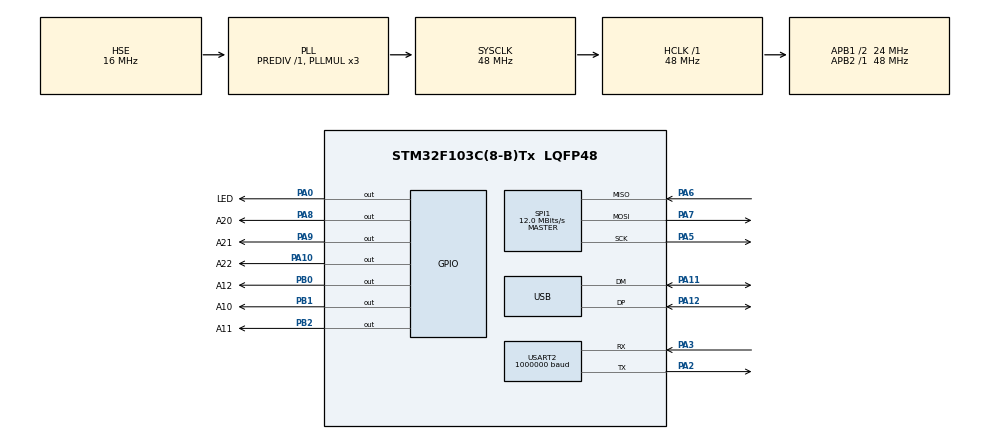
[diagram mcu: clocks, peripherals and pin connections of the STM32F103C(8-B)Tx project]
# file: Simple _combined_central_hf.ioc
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Mcu.Family=STM32F1
Mcu.Name=STM32F103C(8-B)Tx
Mcu.Package=LQFP48
NVIC.PriorityGroup=NVIC_PRIORITYGROUP_4
NVIC.SPI1_IRQn=true\:0\:0\:false\:false\:true\:true\:true
NVIC.TIM2_IRQn=true\:0\:0\:false\:false\:true\:true\:true
PA0-WKUP.GPIO_Label=LED
PA0-WKUP.GPIO_Speed=GPIO_SPEED_FREQ_HIGH
PA0-WKUP.Signal=GPIO_Output
PA10.GPIO_Label=A22
PA10.GPIO_PuPd=GPIO_PULLDOWN
PA10.GPIO_Speed=GPIO_SPEED_FREQ_HIGH
PA10.Signal=GPIO_Output
PA11.Mode=Device
PA11.Signal=USB_DM
PA12.Mode=Device
PA12.Signal=USB_DP
PA13.Mode=Serial_Wire
PA13.Signal=SYS_JTMS-SWDIO
PA14.Mode=Serial_Wire
PA14.Signal=SYS_JTCK-SWCLK
PA2.Mode=Asynchronous
PA2.Signal=USART2_TX
PA3.Mode=Asynchronous
PA3.Signal=USART2_RX
PA5.Mode=Full_Duplex_Master
PA5.Signal=SPI1_SCK
PA6.Mode=Full_Duplex_Master
PA6.Signal=SPI1_MISO
PA7.Mode=Full_Duplex_Master
PA7.Signal=SPI1_MOSI
PA8.GPIO_Label=A20
PA8.GPIO_PuPd=GPIO_PULLDOWN
PA8.GPIO_Speed=GPIO_SPEED_FREQ_HIGH
PA8.Signal=GPIO_Output
PA9.GPIO_Label=A21
PA9.GPIO_PuPd=GPIO_PULLDOWN
PA9.GPIO_Speed=GPIO_SPEED_FREQ_HIGH
PA9.Signal=GPIO_Output
PB0.GPIO_Label=A12
PB0.GPIO_PuPd=GPIO_PULLDOWN
PB0.GPIO_Speed=GPIO_SPEED_FREQ_HIGH
PB0.Signal=GPIO_Output
PB1.GPIO_Label=A10
PB1.GPIO_PuPd=GPIO_PULLDOWN
PB1.GPIO_Speed=GPIO_SPEED_FREQ_HIGH
PB1.Signal=GPIO_Output
PB2.GPIO_Label=A11
PB2.GPIO_PuPd=GPIO_PULLDOWN
PB2.GPIO_Speed=GPIO_SPEED_FREQ_HIGH
PB2.Signal=GPIO_Output
PC14-OSC32_IN.Mode=LSE-External-Oscillator
PC14-OSC32_IN.Signal=RCC_OSC32_IN
PC15-OSC32_OUT.Mode=LSE-External-Oscillator
PC15-OSC32_OUT.Signal=RCC_OSC32_OUT
PD0-OSC_IN.Mode=HSE-External-Oscillator
PD0-OSC_IN.Signal=RCC_OSC_IN
PD1-OSC_OUT.Mode=HSE-External-Oscillator
PD1-OSC_OUT.Signal=RCC_OSC_OUT
ProjectManager.HeapSize=0x200
ProjectManager.StackSize=0x400
ProjectManager.TargetToolchain=STM32CubeIDE
RCC.AHBFreq_Value=48000000
RCC.APB1CLKDivider=RCC_HCLK_DIV2
RCC.APB1Freq_Value=24000000
RCC.APB1TimFreq_Value=48000000
RCC.APB2Freq_Value=48000000
RCC.APB2TimFreq_Value=48000000
RCC.HCLKFreq_Value=48000000
RCC.HSE_VALUE=16000000
RCC.PLLMUL=RCC_PLL_MUL3
RCC.SYSCLKFreq_VALUE=48000000
RCC.SYSCLKSource=RCC_SYSCLKSOURCE_PLLCLK
RCC.USBFreq_Value=48000000
SPI1.BaudRatePrescaler=SPI_BAUDRATEPRESCALER_4
SPI1.CLKPhase=SPI_PHASE_2EDGE
SPI1.CalculateBaudRate=12.0 MBits/s
SPI1.Direction=SPI_DIRECTION_2LINES
SPI1.FirstBit=SPI_FIRSTBIT_LSB
SPI1.Mode=SPI_MODE_MASTER
SPI1.VirtualType=VM_MASTER
TIM2.AutoReloadPreload=TIM_AUTORELOAD_PRELOAD_ENABLE
TIM2.Period=16000
TIM2.Prescaler=1000
USART2.BaudRate=1000000
USART2.VirtualMode=VM_ASYNC
VP_RTC_VS_RTC_Activate.Mode=RTC_Enabled
VP_TIM2_VS_ClockSourceINT.Mode=Internal
board=custom

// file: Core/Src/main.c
/* USER CODE BEGIN Header */
/**
  ******************************************************************************
  * @file           : main.c
  * @brief          : Master for spi printing in high frequency
  ******************************************************************************
  * @attention
  *
  * <h2><center>&copy; Copyright (c) 2022 STMicroelectronics.
  * All rights reserved.</center></h2>
  *
  * This software component is licensed by ST under BSD 3-Clause license,
  * the "License"; You may not use this file except in compliance with the
  * License. You may obtain a copy of the License at:
  *                        opensource.org/licenses/BSD-3-Clause
  *
  ******************************************************************************
  */
/* USER CODE END Header */
#include "main.h"

/* USER CODE BEGIN Includes */
#include <stdio.h>
#include <string.h>
/* USER CODE END Includes */

/* USER CODE BEGIN PD */
#define BUFFERSIZE 16
#define OPTODE1 1
#define OPTODE2 2
#define OPTODE3 3
#define OPTODE4 4
#define OPTODE5 5
#define OPTODE6 6
#define OPTODE_ 0

/* USER CODE END PD */

RTC_HandleTypeDef hrtc;

SPI_HandleTypeDef hspi1;

TIM_HandleTypeDef htim2;

UART_HandleTypeDef huart2;

PCD_HandleTypeDef hpcd_USB_FS;

/* USER CODE BEGIN PV */
uint8_t aTxBuffer[BUFFERSIZE];// = {1,2,3,4,5,6,7,8,9,10,11,12,13,14,15,16,17,18,19,20,21,22,23,24,25,26,27,28,29,30,31,32,33,34,35,36,37,38,39,40,41,42,43,44,45,46,47,48,49,50,51,52,53,54,55,56,57,58,59,60,61,62,63,64};
uint8_t aRxBuffer[BUFFERSIZE];
uint8_t sRxBuffer[BUFFERSIZE];
//int reading=125;
uint16_t reading=125;
int optode=0;
int prev_optode=0;
char msg[32];
/* USER CODE END PV */

void SystemClock_Config(void);
static void MX_GPIO_Init(void);
static void MX_SPI1_Init(void);
static void MX_USART2_UART_Init(void);
static void MX_USB_PCD_Init(void);
static void MX_TIM2_Init(void);
static void MX_RTC_Init(void);
/* USER CODE BEGIN PFP */
int get_optode(void);
/* USER CODE END PFP */

int main(void)
{

  /* MCU Configuration--------------------------------------------------------*/

  /* Reset of all peripherals, Initializes the Flash interface and the Systick. */
  HAL_Init();

  /* Configure the system clock */
  SystemClock_Config();

  /* Initialize all configured peripherals */
  MX_GPIO_Init();
  MX_SPI1_Init();
  MX_USART2_UART_Init();
  MX_USB_PCD_Init();
  MX_TIM2_Init();
  MX_RTC_Init();
  /* USER CODE BEGIN 2 */

  //to reset the the j9 optode
  HAL_GPIO_WritePin(GPIOB, GPIO_PIN_0, GPIO_PIN_RESET);
  HAL_GPIO_WritePin(GPIOB, GPIO_PIN_1, GPIO_PIN_SET);
  HAL_GPIO_WritePin(GPIOB, GPIO_PIN_2, GPIO_PIN_RESET);
  HAL_Delay(1500);
  HAL_GPIO_WritePin(GPIOB, GPIO_PIN_1, GPIO_PIN_RESET);

  //to select the j9 slave ooptode
  HAL_GPIO_WritePin(GPIOA, GPIO_PIN_9, GPIO_PIN_RESET);
  HAL_GPIO_WritePin(GPIOA, GPIO_PIN_10, GPIO_PIN_RESET);

  //start timer
//  HAL_TIM_Base_Start_IT(&htim2);

//  for (int i = 5;; i++)
//      {
//	  	  HAL_GPIO_WritePin(GPIOA, GPIO_PIN_8, GPIO_PIN_SET);
//          result = 69;
//
//
////          **********************************************
//          HAL_UART_Transmit(&huart2, (uint8_t*)&i, sizeof(i), HAL_MAX_DELAY);
////          **********************************************
//
//
////          HAL_UART_Transmit(&huart2, (uint8_t*)&result, sizeof(result), HAL_MAX_DELAY);
//          HAL_SPI_TransmitReceive(&hspi1, (uint8_t *)&i, (uint8_t*)&result, sizeof(i), HAL_MAX_DELAY);
//
//          //result+=58;
//
////          **********************************************
//          HAL_UART_Transmit(&huart2, (uint8_t*)&result, sizeof(result), HAL_MAX_DELAY);
////          **********************************************
//          //          if (result != (i - 1))
////          {
////              asm("nop");
////          }
//          HAL_GPIO_WritePin(GPIOA, GPIO_PIN_8, GPIO_PIN_RESET);
//          HAL_Delay(100);
//      }

  HAL_GPIO_WritePin(GPIOA, GPIO_PIN_9, GPIO_PIN_RESET);
  HAL_GPIO_WritePin(GPIOA, GPIO_PIN_10, GPIO_PIN_RESET);
  HAL_GPIO_WritePin(GPIOA, GPIO_PIN_8, GPIO_PIN_SET);

  /* USER CODE END 2 */

  /* Infinite loop */
  while (1)
  {

    /* USER CODE BEGIN 3 */

	  __disable_irq();
	  HAL_SPI_TransmitReceive(&hspi1, (uint8_t *)&aTxBuffer, (uint8_t *)&reading , sizeof(reading), HAL_MAX_DELAY);

	  sprintf(msg, "%hu\r\n", (int)reading);

		//HAL_UART_Transmit(&hlpuart1, (uint8_t*)msg, strlen(msg), HAL_MAX_DELAY);
//	  HAL_UART_Transmit(&huart2, (uint8_t*)msg, strlen(msg), 1000);
	  if((reading<4096)&&(reading>300)){
	  HAL_UART_Transmit(&huart2, (uint8_t*)msg, strlen(msg), 1000);
	  }
	  __enable_irq();
  }
  /* USER CODE END 3 */
}

void SystemClock_Config(void)
{
  RCC_OscInitTypeDef RCC_OscInitStruct = {0};
  RCC_ClkInitTypeDef RCC_ClkInitStruct = {0};
  RCC_PeriphCLKInitTypeDef PeriphClkInit = {0};

  /** Initializes the RCC Oscillators according to the specified parameters
  * in the RCC_OscInitTypeDef structure.
  */
  RCC_OscInitStruct.OscillatorType = RCC_OSCILLATORTYPE_LSI|RCC_OSCILLATORTYPE_HSE;
  RCC_OscInitStruct.HSEState = RCC_HSE_ON;
  RCC_OscInitStruct.HSEPredivValue = RCC_HSE_PREDIV_DIV1;
  RCC_OscInitStruct.HSIState = RCC_HSI_ON;
  RCC_OscInitStruct.LSIState = RCC_LSI_ON;
  RCC_OscInitStruct.PLL.PLLState = RCC_PLL_ON;
  RCC_OscInitStruct.PLL.PLLSource = RCC_PLLSOURCE_HSE;
  RCC_OscInitStruct.PLL.PLLMUL = RCC_PLL_MUL3;
  if (HAL_RCC_OscConfig(&RCC_OscInitStruct) != HAL_OK)
  {
    Error_Handler();
  }
  /** Initializes the CPU, AHB and APB buses clocks
  */
  RCC_ClkInitStruct.ClockType = RCC_CLOCKTYPE_HCLK|RCC_CLOCKTYPE_SYSCLK
                              |RCC_CLOCKTYPE_PCLK1|RCC_CLOCKTYPE_PCLK2;
  RCC_ClkInitStruct.SYSCLKSource = RCC_SYSCLKSOURCE_PLLCLK;
  RCC_ClkInitStruct.AHBCLKDivider = RCC_SYSCLK_DIV1;
  RCC_ClkInitStruct.APB1CLKDivider = RCC_HCLK_DIV2;
  RCC_ClkInitStruct.APB2CLKDivider = RCC_HCLK_DIV1;

  if (HAL_RCC_ClockConfig(&RCC_ClkInitStruct, FLASH_LATENCY_1) != HAL_OK)
  {
    Error_Handler();
  }
  PeriphClkInit.PeriphClockSelection = RCC_PERIPHCLK_RTC|RCC_PERIPHCLK_USB;
  PeriphClkInit.RTCClockSelection = RCC_RTCCLKSOURCE_LSI;
  PeriphClkInit.UsbClockSelection = RCC_USBCLKSOURCE_PLL;
  if (HAL_RCCEx_PeriphCLKConfig(&PeriphClkInit) != HAL_OK)
  {
    Error_Handler();
  }
}

static void MX_RTC_Init(void)
{

  /** Initialize RTC Only
  */
  hrtc.Instance = RTC;
  hrtc.Init.AsynchPrediv = RTC_AUTO_1_SECOND;
  hrtc.Init.OutPut = RTC_OUTPUTSOURCE_ALARM;
  if (HAL_RTC_Init(&hrtc) != HAL_OK)
  {
    Error_Handler();
  }

}

static void MX_SPI1_Init(void)
{

  /* USER CODE BEGIN SPI1_Init 1 */
  //__HAL_RCC_SPI1_CLK_ENABLE; // I added this ******************************************************
  /* USER CODE END SPI1_Init 1 */
  /* SPI1 parameter configuration*/
  hspi1.Instance = SPI1;
  hspi1.Init.Mode = SPI_MODE_MASTER;
  hspi1.Init.Direction = SPI_DIRECTION_2LINES;
  hspi1.Init.DataSize = SPI_DATASIZE_8BIT;
  hspi1.Init.CLKPolarity = SPI_POLARITY_LOW;
  hspi1.Init.CLKPhase = SPI_PHASE_2EDGE;
  hspi1.Init.NSS = SPI_NSS_SOFT;
  hspi1.Init.BaudRatePrescaler = SPI_BAUDRATEPRESCALER_4;
  hspi1.Init.FirstBit = SPI_FIRSTBIT_LSB;
  hspi1.Init.TIMode = SPI_TIMODE_DISABLE;
  hspi1.Init.CRCCalculation = SPI_CRCCALCULATION_DISABLE;
  hspi1.Init.CRCPolynomial = 10;
  if (HAL_SPI_Init(&hspi1) != HAL_OK)
  {
    Error_Handler();
  }

}

static void MX_TIM2_Init(void)
{

  TIM_ClockConfigTypeDef sClockSourceConfig = {0};
  TIM_MasterConfigTypeDef sMasterConfig = {0};

  htim2.Instance = TIM2;
  htim2.Init.Prescaler = 1000;
  htim2.Init.CounterMode = TIM_COUNTERMODE_UP;
  htim2.Init.Period = 16000;
  htim2.Init.ClockDivision = TIM_CLOCKDIVISION_DIV1;
  htim2.Init.AutoReloadPreload = TIM_AUTORELOAD_PRELOAD_ENABLE;
  if (HAL_TIM_Base_Init(&htim2) != HAL_OK)
  {
    Error_Handler();
  }
  sClockSourceConfig.ClockSource = TIM_CLOCKSOURCE_INTERNAL;
  if (HAL_TIM_ConfigClockSource(&htim2, &sClockSourceConfig) != HAL_OK)
  {
    Error_Handler();
  }
  sMasterConfig.MasterOutputTrigger = TIM_TRGO_RESET;
  sMasterConfig.MasterSlaveMode = TIM_MASTERSLAVEMODE_DISABLE;
  if (HAL_TIMEx_MasterConfigSynchronization(&htim2, &sMasterConfig) != HAL_OK)
  {
    Error_Handler();
  }

}

static void MX_USART2_UART_Init(void)
{

  huart2.Instance = USART2;
  huart2.Init.BaudRate = 1000000;
  huart2.Init.WordLength = UART_WORDLENGTH_8B;
  huart2.Init.StopBits = UART_STOPBITS_1;
  huart2.Init.Parity = UART_PARITY_NONE;
  huart2.Init.Mode = UART_MODE_TX_RX;
  huart2.Init.HwFlowCtl = UART_HWCONTROL_NONE;
  huart2.Init.OverSampling = UART_OVERSAMPLING_16;
  if (HAL_UART_Init(&huart2) != HAL_OK)
  {
    Error_Handler();
  }

}

static void MX_USB_PCD_Init(void)
{

  hpcd_USB_FS.Instance = USB;
  hpcd_USB_FS.Init.dev_endpoints = 8;
  hpcd_USB_FS.Init.speed = PCD_SPEED_FULL;
  hpcd_USB_FS.Init.low_power_enable = DISABLE;
  hpcd_USB_FS.Init.lpm_enable = DISABLE;
  hpcd_USB_FS.Init.battery_charging_enable = DISABLE;
  if (HAL_PCD_Init(&hpcd_USB_FS) != HAL_OK)
  {
    Error_Handler();
  }

}

static void MX_GPIO_Init(void)
{
  GPIO_InitTypeDef GPIO_InitStruct = {0};

  /* GPIO Ports Clock Enable */
  __HAL_RCC_GPIOC_CLK_ENABLE();
  __HAL_RCC_GPIOD_CLK_ENABLE();
  __HAL_RCC_GPIOA_CLK_ENABLE();
  __HAL_RCC_GPIOB_CLK_ENABLE();

  /*Configure GPIO pin Output Level */
  HAL_GPIO_WritePin(GPIOA, LED_Pin|A20_Pin|A21_Pin|A22_Pin, GPIO_PIN_RESET);

  /*Configure GPIO pin Output Level */
  HAL_GPIO_WritePin(GPIOB, A12_Pin|A10_Pin|A11_Pin, GPIO_PIN_RESET);

  /*Configure GPIO pin : LED_Pin */
  GPIO_InitStruct.Pin = LED_Pin;
  GPIO_InitStruct.Mode = GPIO_MODE_OUTPUT_PP;
  GPIO_InitStruct.Pull = GPIO_NOPULL;
  GPIO_InitStruct.Speed = GPIO_SPEED_FREQ_HIGH;
  HAL_GPIO_Init(LED_GPIO_Port, &GPIO_InitStruct);

  /*Configure GPIO pins : A12_Pin A10_Pin A11_Pin */
  GPIO_InitStruct.Pin = A12_Pin|A10_Pin|A11_Pin;
  GPIO_InitStruct.Mode = GPIO_MODE_OUTPUT_PP;
  GPIO_InitStruct.Pull = GPIO_PULLDOWN;
  GPIO_InitStruct.Speed = GPIO_SPEED_FREQ_HIGH;
  HAL_GPIO_Init(GPIOB, &GPIO_InitStruct);

  /*Configure GPIO pins : A20_Pin A21_Pin A22_Pin */
  GPIO_InitStruct.Pin = A20_Pin|A21_Pin|A22_Pin;
  GPIO_InitStruct.Mode = GPIO_MODE_OUTPUT_PP;
  GPIO_InitStruct.Pull = GPIO_PULLDOWN;
  GPIO_InitStruct.Speed = GPIO_SPEED_FREQ_HIGH;
  HAL_GPIO_Init(GPIOA, &GPIO_InitStruct);

}

/* USER CODE BEGIN 4 */
int get_optode(void){
	return optode;
}

//Interrupt service routine for periodic timer interrupt
//void HAL_TIM_PeriodElapsedCallback(TIM_HandleTypeDef *htim){
//	if (htim==&htim2){
//		optode+=1;
//		if(optode==7){
//			optode=0;
//		}
//		sprintf(msg, "%hu\r\n", optode);
//
//		HAL_UART_Transmit(&huart2, (uint8_t*)msg, strlen(msg), HAL_MAX_DELAY);
//	}
//}

/* USER CODE END 4 */

void Error_Handler(void)
{
  __disable_irq();
  while (1)
  {
  }
}

/************************ (C) COPYRIGHT STMicroelectronics *****END OF FILE****/
